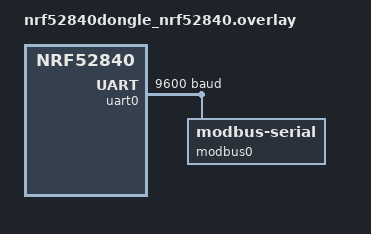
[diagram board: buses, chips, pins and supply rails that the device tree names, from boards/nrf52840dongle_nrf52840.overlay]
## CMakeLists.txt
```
# SPDX-License-Identifier: Apache-2.0

cmake_minimum_required(VERSION 3.20.0)

find_package(Zephyr REQUIRED HINTS $ENV{ZEPHYR_BASE})
project(co2sensor)

target_sources(app PRIVATE
	src/bluetooth.c
	src/main.c
	src/uart.c
)
```

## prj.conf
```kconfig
# Logging
CONFIG_NET_LOG=y
CONFIG_LOG=y
CONFIG_PRINTK=y

CONFIG_UART_INTERRUPT_DRIVEN=y
CONFIG_UART_USE_RUNTIME_CONFIGURE=y
CONFIG_MODBUS=y
CONFIG_MODBUS_ROLE_CLIENT=y

CONFIG_OPENTHREAD_MTD=y
CONFIG_OPENTHREAD_FTD=n
```

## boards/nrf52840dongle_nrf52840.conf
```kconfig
CONFIG_LOG=y
CONFIG_APP_LOG_LEVEL_DBG=y
CONFIG_BT_DEBUG_LOG=y

CONFIG_BT=y
CONFIG_BT_BROADCASTER=y
CONFIG_BT_EXT_ADV=y
CONFIG_BT_CTLR_PHY_CODED=y
CONFIG_BT_CTLR_ADV_DATA_LEN_MAX=64
CONFIG_BT_CTLR_TX_PWR_PLUS_8=y

#CONFIG_USB_DEVICE_STACK=y
#CONFIG_USB_DEVICE_PRODUCT="co2sensor"
#CONFIG_USB_DRIVER_LOG_LEVEL_ERR=y
#CONFIG_USB_DEVICE_LOG_LEVEL_ERR=y
#CONFIG_SERIAL=y
#CONFIG_UART_INTERRUPT_DRIVEN=y
#CONFIG_UART_LINE_CTRL=y

CONFIG_CONSOLE=y
CONFIG_UART_CONSOLE=y
```

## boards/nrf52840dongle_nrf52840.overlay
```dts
/ {
	chosen {
		app,modbus = &modbus0;
	};
};

&uart0 {
	current-speed = <9600>;

	modbus0: modbus0 {
		compatible = "zephyr,modbus-serial";
		status = "okay";
	};
};
```

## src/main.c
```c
/*
 * SPDX-License-Identifier: Apache-2.0
 */

#include <smartmeter/mqttsndev.h>
#include <zephyr/kernel.h>
#include <zephyr/settings/settings.h>
#include <zephyr/modbus/modbus.h>

#include <zephyr/logging/log.h>
LOG_MODULE_REGISTER(co2sensor, CONFIG_APP_LOG_LEVEL);

#define DEFAULT_MODBUS_NODE DT_CHOSEN(app_modbus)
BUILD_ASSERT(DT_NODE_HAS_STATUS(DEFAULT_MODBUS_NODE, okay), "No default modbus specified in DT");

static uint16_t meterstatus;
static uint16_t alarmstatus;
static uint16_t outputstatus;
static uint16_t spaceco2;

static int client_iface;
static const struct modbus_iface_param client_param = {
	.mode = MODBUS_MODE_RTU,
	.rx_timeout = 50000,
	.serial = {
		.baud = 9600,
		.parity = UART_CFG_PARITY_NONE,
		.stop_bits_client = UART_CFG_STOP_BITS_2,
	},
};

static int init_modbus_client(void)
{
	const char iface_name[] = { DEVICE_DT_NAME(DEFAULT_MODBUS_NODE) };

	client_iface = modbus_iface_get_by_name(iface_name);

	return modbus_init_client(client_iface, client_param);
}


static int publish_callback(struct mqtt_sn_client*const client) {
	static struct mqtt_sn_data topic_meterstatus = MQTT_SN_DATA_STRING_LITERAL("/meterstatus");
	static struct mqtt_sn_data topic_alarmstatus = MQTT_SN_DATA_STRING_LITERAL("/alarmstatus");
	static struct mqtt_sn_data topic_outputstatus = MQTT_SN_DATA_STRING_LITERAL("/outputstatus");
	static struct mqtt_sn_data topic_spaceco2 = MQTT_SN_DATA_STRING_LITERAL("/spaceco2");

	int ret;

	LOG_INF("Publish");

	ret = mqtt_sn_publish_fmt(client, MQTT_SN_QOS_0, &topic_meterstatus, false, "%u", meterstatus);
	if (ret) {
		return ret;
	}

	ret = mqtt_sn_publish_fmt(client, MQTT_SN_QOS_0, &topic_alarmstatus, false, "%u", alarmstatus);
	if (ret) {
		return ret;
	}

	ret = mqtt_sn_publish_fmt(client, MQTT_SN_QOS_0, &topic_outputstatus, false, "%u", outputstatus);
	if (ret) {
		return ret;
	}

	ret = mqtt_sn_publish_fmt(client, MQTT_SN_QOS_0, &topic_spaceco2, false, "%u", spaceco2);
	if (ret) {
		return ret;
	}

	return 0;
}

int main(void)
{
	int ret;

	LOG_DBG("Init");

	settings_subsys_init();
	settings_load();

	ret = init_modbus_client();
	if (ret) {
		LOG_ERR("Modbus RTU client initialization failed: %d", ret);
		return ret;
	}

	mqttsndev_register_publish_callback(publish_callback);
	mqttsndev_init();

	for (;; k_sleep(K_SECONDS(5))) {
		uint8_t node = 0xFE;
		uint16_t regs[4];

		ret = modbus_read_input_regs(client_iface, node, 0x0000, regs, ARRAY_SIZE(regs));
		if (ret) {
			LOG_ERR("can't read registers %d", ret);
			continue;
		}

		meterstatus = regs[0];
		alarmstatus = regs[1];
		outputstatus = regs[2];
		spaceco2 = regs[3];

		LOG_INF("meter=0x%04x alarm=0x%04x output=0x%04x co2=%u",
			meterstatus,
			alarmstatus,
			outputstatus,
			spaceco2);

		mqttsndev_schedule_publish_callback();
	}

	return 0;
}
```

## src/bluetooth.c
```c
#include <stddef.h>
#include <zephyr/bluetooth/bluetooth.h>
#include <zephyr/bluetooth/hci.h>
#include <zephyr/settings/settings.h>
#include <zephyr/sys/printk.h>
#include <zephyr/sys/util.h>
#include <zephyr/types.h>

#include "main.h"

#include <zephyr/logging/log.h>
LOG_MODULE_REGISTER(main_bt, CONFIG_APP_LOG_LEVEL);

#define NONCE_SAVE_STEPS 1024

struct message {
	uint8_t nonce[12];
	uint16_t ciphertext[4];
	uint8_t tag[16];
} __packed;

struct mfg_data {
	uint8_t company_id[2];
	struct message message;
} __packed;

static const struct smr_cipher *g_cipher;
static struct bt_le_ext_adv *g_adv;
static struct smr_u128 g_nonce;

static struct mfg_data mfg_data = {
	.company_id = { 0xff, 0xff },
};
BUILD_ASSERT(sizeof(mfg_data) == 38);

static const struct bt_data ad[] = {
	BT_DATA(BT_DATA_MANUFACTURER_DATA, &mfg_data, sizeof(mfg_data)),
};

static void disable_advertising(struct k_work *work)
{
	int ret = bt_le_ext_adv_stop(g_adv);
	if (ret) {
		LOG_ERR("Advertising failed to stop (delayed): %d", ret);
		return;
	}
}
static K_WORK_DELAYABLE_DEFINE(disable_advertising_work, disable_advertising);

void app_bluetooth_send_data(uint16_t meterstatus, uint16_t alarmstatus, uint16_t outputstatus,
			     uint16_t spaceco2)
{
	int ret;

	LOG_INF("Sending advertising data");

	if (!g_adv) {
		LOG_ERR("incomplete bluetooth initialization");
		return;
	}

	if (smr_u128_inc(&g_nonce)) {
		LOG_ERR("can't increment nonce anymore");
		return;
	}

	if (!smr_u128_has_rem(&g_nonce, NONCE_SAVE_STEPS)) {
		ret = settings_save_one("app_bt/nonce", &g_nonce, sizeof(g_nonce));
		if (ret) {
			LOG_ERR("failed to save nonce: %d", ret);
			return;
		}
		LOG_HEXDUMP_INF(&g_nonce, sizeof(g_nonce), "saved nonce");
	}

	struct message message = {
		.ciphertext = {
			// TODO: convert endianess
			meterstatus,
			alarmstatus,
			outputstatus,
			spaceco2
		},
	};

	if (smr_u128_to_nonce(message.nonce, sizeof(message.nonce), &g_nonce)) {
		LOG_ERR("nonce doesn't fit into u96 anymore");
		return;
	}

	ret = smr_encrypt(g_cipher, message.ciphertext, message.tag, message.nonce,
			  sizeof(message.ciphertext));
	if (ret) {
		LOG_ERR("failed to encrypt: %d", ret);
		return;
	}
	LOG_HEXDUMP_DBG(&message, sizeof(message), "ciphertext");

	mfg_data.message = message;

	ret = bt_le_ext_adv_set_data(g_adv, ad, ARRAY_SIZE(ad), NULL, 0);
	if (ret) {
		LOG_ERR("Failed to set advertising data for set: %d", ret);
		return;
	}

	ret = bt_le_ext_adv_start(g_adv, BT_LE_EXT_ADV_START_DEFAULT);
	if (ret && ret != -EALREADY) {
		LOG_ERR("Failed to start extended advertising set: %d", ret);
		return;
	}

	k_work_reschedule(&disable_advertising_work, K_SECONDS(2));
}

static int handle_set(const char *name, size_t len, settings_read_cb read_cb, void *cb_arg)
{
	const char *next;
	int rc;

	if (settings_name_steq(name, "nonce", &next) && !next) {
		struct smr_u128 new_nonce;

		if (len != sizeof(new_nonce)) {
			return -EINVAL;
		}

		rc = read_cb(cb_arg, &new_nonce, sizeof(new_nonce));
		if (rc < 0) {
			return rc;
		}

		LOG_HEXDUMP_INF(&new_nonce, sizeof(new_nonce), "loaded nonce");
		g_nonce = new_nonce;
		return 0;
	}

	return -ENOENT;
}

SETTINGS_STATIC_HANDLER_DEFINE(app_bt, "app_bt", NULL, handle_set, NULL, NULL);

int app_setup_bluetooth(const struct smr_cipher *cipher)
{
	int ret;

	g_cipher = cipher;

	ret = settings_subsys_init();
	if (ret) {
		LOG_ERR("failed to init settings subsys: %d", ret);
		return ret;
	}

	ret = settings_load();
	if (ret) {
		LOG_ERR("failed to load settings: %d", ret);
		return ret;
	}

	// skip the nonces we might hav already used but not saved
	if (smr_u128_add_u32(&g_nonce, NONCE_SAVE_STEPS)) {
		return -EINVAL;
	}

	ret = settings_save_one("app_bt/nonce", &g_nonce, sizeof(g_nonce));
	if (ret) {
		LOG_ERR("failed to save nonce: %d", ret);
		return ret;
	}

	LOG_INF("Starting Broadcaster");

	ret = bt_enable(NULL);
	if (ret) {
		LOG_ERR("Bluetooth init failed: %d", ret);
		return ret;
	}

	struct bt_le_adv_param adv_param = {
		.id = BT_ID_DEFAULT,
		.sid = 0U,
		.secondary_max_skip = 0U,
		.options = BT_LE_ADV_OPT_EXT_ADV | BT_LE_ADV_OPT_USE_IDENTITY | BT_LE_ADV_OPT_CODED,
		.interval_min = BT_GAP_ADV_SLOW_INT_MIN,
		.interval_max = BT_GAP_ADV_SLOW_INT_MAX,
		.peer = NULL,
	};
	ret = bt_le_ext_adv_create(&adv_param, NULL, &g_adv);
	if (ret) {
		LOG_ERR("Failed to create advertising set: %d", ret);
		return ret;
	}

	LOG_INF("Bluetooth initialized");

	return 0;
}
```

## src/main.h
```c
#ifndef MAIN_H
#define MAIN_H

#include <smartmeter-rust.h>
#include <stdint.h>
#include <zephyr/device.h>

void app_unrecoverable_error(void);
int app_setup_bluetooth(const struct smr_cipher *cipher);
void app_bluetooth_send_data(uint16_t meterstatus, uint16_t alarmstatus, uint16_t outputstatus,
			     uint16_t spaceco2);
int app_setup_uart(void);

#endif /* MAIN_H */
```

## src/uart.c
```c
#include <math.h>
#include <zephyr/modbus/modbus.h>

#include "main.h"

#include <zephyr/logging/log.h>
LOG_MODULE_REGISTER(main_uart, CONFIG_APP_LOG_LEVEL);

#define DEFAULT_MODBUS_NODE DT_CHOSEN(app_modbus)
BUILD_ASSERT(DT_NODE_HAS_STATUS(DEFAULT_MODBUS_NODE, okay), "No default modbus specified in DT");

static int client_iface;
static const struct modbus_iface_param client_param = {
	.mode = MODBUS_MODE_RTU,
	.rx_timeout = 50000,
	.serial = {
		.baud = 9600,
		.parity = UART_CFG_PARITY_NONE,
		.stop_bits_client = UART_CFG_STOP_BITS_2,
	},
};

static int init_modbus_client(void)
{
	const char iface_name[] = { DEVICE_DT_NAME(DEFAULT_MODBUS_NODE) };

	client_iface = modbus_iface_get_by_name(iface_name);

	return modbus_init_client(client_iface, client_param);
}

int app_setup_uart(void)
{
	int ret;

	ret = init_modbus_client();
	if (ret) {
		LOG_ERR("Modbus RTU client initialization failed: %d", ret);
		return ret;
	}

	for (;; k_sleep(K_SECONDS(5))) {
		uint8_t node = 0xFE;
		uint16_t regs[4];

		ret = modbus_read_input_regs(client_iface, node, 0x0000, regs, ARRAY_SIZE(regs));
		if (ret) {
			LOG_ERR("can't read registers %d", ret);
			continue;
		}

		uint16_t meterstatus = regs[0];
		uint16_t alarmstatus = regs[1];
		uint16_t outputstatus = regs[2];
		uint16_t spaceco2 = regs[3];

		LOG_INF("meter=0x%04x alarm=0x%04x output=0x%04x co2=%u", meterstatus, alarmstatus,
			outputstatus, spaceco2);

		app_bluetooth_send_data(meterstatus, alarmstatus, outputstatus, spaceco2);
	}

	return 0;
}
```
